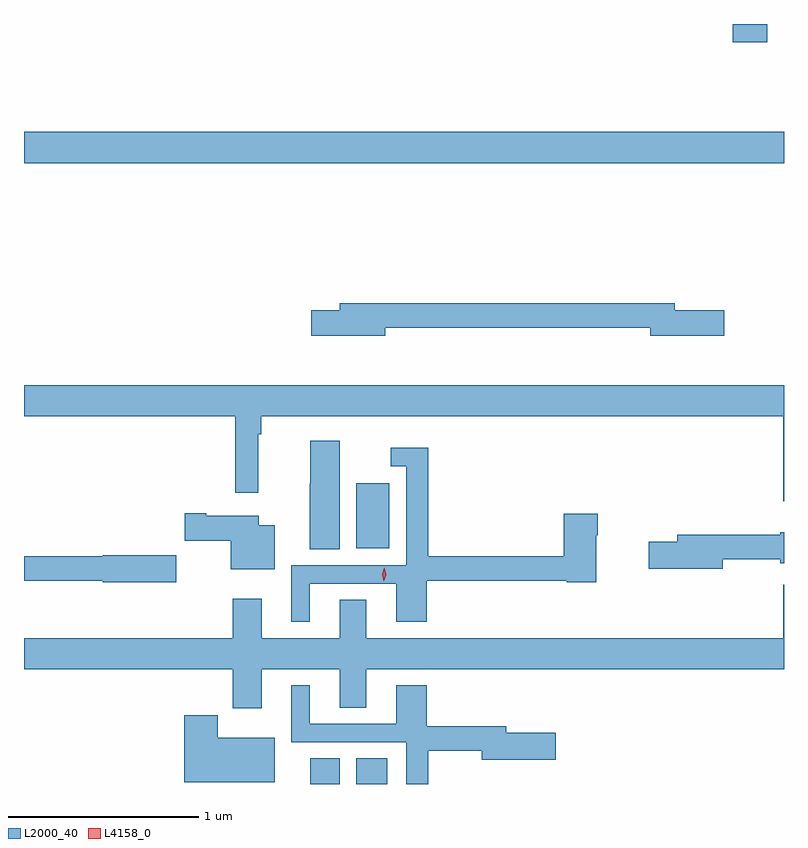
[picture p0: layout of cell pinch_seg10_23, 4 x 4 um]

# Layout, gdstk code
import gdstk
lib = gdstk.Library(unit=1e-6, precision=1e-09)
def R(c, l, rs):  # rectangles x0, y0, x1, y1
    for r in rs: c.add(gdstk.rectangle(r[:2], r[2:], *l))
def P(c, l, *ps):  # polygons
    for p in ps: c.add(gdstk.Polygon(p, *l))
L2000_40 = (2000, 40)
L4158_0 = (4158, 0)

pinch_seg10_23 = lib.new_cell('pinch_seg10_23')
R(pinch_seg10_23, L2000_40, [(947.435,1253.092,947.59,1253.228), (947.678,1253.092,947.842,1253.228), (947.678,1254.332,947.851,1254.676), (945.929,1256.36,949.929,1256.524), (949.658,1256.997,949.841,1257.092)])
P(pinch_seg10_23, L2000_40, [(947.83,1255.494),(949.226,1255.494),(949.226,1255.451),(949.615,1255.451),(949.615,1255.586),(949.354,1255.586),(949.354,1255.622),(947.591,1255.622),(947.591,1255.586),(947.442,1255.586),(947.442,1255.451),(947.83,1255.451)],
  [(949.929,1255.192),(945.929,1255.192),(945.929,1255.028),(947.041,1255.028),(947.041,1254.624),(947.162,1254.624),(947.162,1254.932),(947.177,1254.932),(947.177,1255.028),(949.926,1255.028),(949.926,1254.579),(949.929,1254.579)],
  [(947.59,1254.898),(947.435,1254.898),(947.435,1254.672),(947.432,1254.672),(947.432,1254.328),(947.59,1254.328)],
  [(947.434,1254.147),(947.888,1254.147),(947.888,1253.946),(948.05,1253.946),(948.05,1254.162),(948.786,1254.162),(948.786,1254.154),(948.94,1254.154),(948.94,1254.401),(948.948,1254.401),(948.948,1254.514),(948.77,1254.514),(948.77,1254.29),(948.056,1254.29),(948.056,1254.862),(947.859,1254.862),(947.859,1254.765),(947.94,1254.765),(947.94,1254.243),(947.336,1254.243),(947.336,1253.946),(947.434,1253.946)],
  [(947.248,1254.454),(947.164,1254.454),(947.164,1254.505),(946.888,1254.505),(946.888,1254.518),(946.776,1254.518),(946.776,1254.371),(947.018,1254.371),(947.018,1254.221),(947.248,1254.221)],
  [(949.606,1254.276),(949.91,1254.276),(949.91,1254.254),(949.929,1254.254),(949.929,1254.418),(949.91,1254.418),(949.91,1254.404),(949.367,1254.404),(949.367,1254.368),(949.218,1254.368),(949.218,1254.226),(949.606,1254.226)],
  [(946.729,1254.296),(946.344,1254.296),(946.344,1254.29),(945.929,1254.29),(945.929,1254.162),(946.344,1254.162),(946.344,1254.154),(946.729,1254.154)],
  [(947.179,1253.696),(947.591,1253.696),(947.591,1253.494),(947.731,1253.494),(947.731,1253.696),(949.929,1253.696),(949.929,1254.142),(949.926,1254.142),(949.926,1253.86),(947.731,1253.86),(947.731,1254.062),(947.591,1254.062),(947.591,1253.86),(947.179,1253.86),(947.179,1254.067),(947.027,1254.067),(947.027,1253.86),(945.929,1253.86),(945.929,1253.696),(947.027,1253.696),(947.027,1253.49),(947.179,1253.49)],
  [(948.056,1253.266),(948.338,1253.266),(948.338,1253.219),(948.727,1253.219),(948.727,1253.361),(948.466,1253.361),(948.466,1253.395),(948.05,1253.395),(948.05,1253.611),(947.888,1253.611),(947.888,1253.409),(947.434,1253.409),(947.434,1253.611),(947.336,1253.611),(947.336,1253.313),(947.94,1253.313),(947.94,1253.092),(948.056,1253.092)],
  [(947.248,1253.335),(946.949,1253.335),(946.949,1253.455),(946.772,1253.455),(946.772,1253.102),(947.248,1253.102)])
P(pinch_seg10_23, L4158_0, [(947.823,1254.159),(947.823,1254.159),(947.815,1254.195),(947.826,1254.231),(947.826,1254.231),(947.826,1254.231),(947.835,1254.194),(947.823,1254.159)])

lib.write_gds('pinch_seg10_23.gds')
